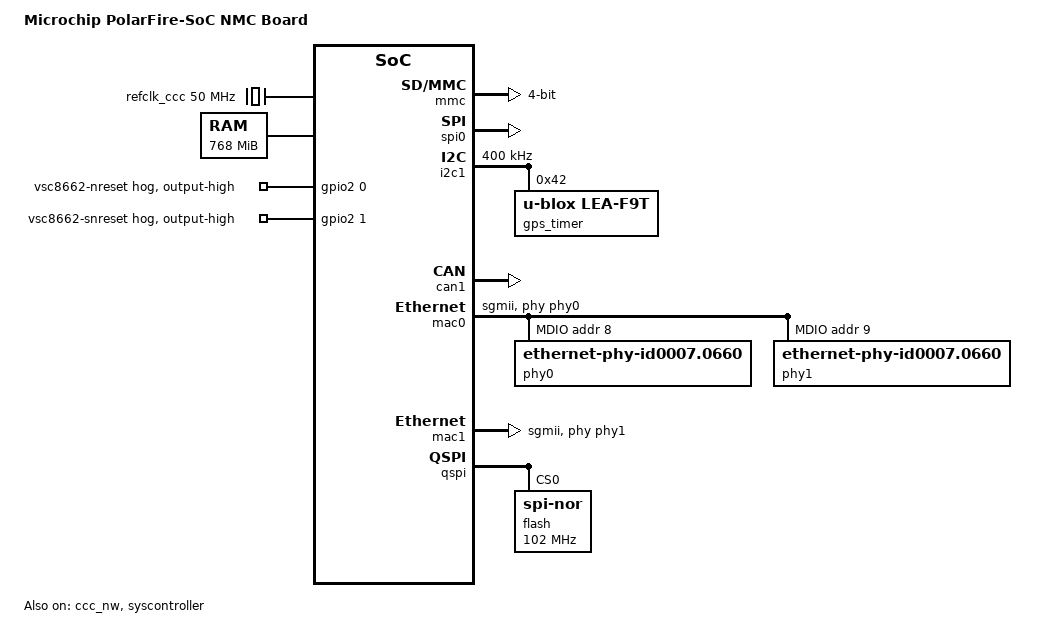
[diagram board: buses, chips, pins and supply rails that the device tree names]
// SPDX-License-Identifier: (GPL-2.0 OR MIT)
/* Written by Ryan Nguyen / Andrew Carton 2026 */

/dts-v1/;

#include "mpfs.dtsi"
#include <dt-bindings/gpio/gpio.h>

/ {
	model = "Microchip PolarFire-SoC NMC Board";
	compatible = "microchip,mpfs-custom-mss", "microchip,mpfs";

	aliases {
		ethernet0 = &mac0;
		ethernet1 = &mac1;
		serial0 = &mmuart0;
		serial1 = &mmuart1;
		i2c1 = &i2c1;
		can0 = &can1;
		mmc0 = &mmc;
		spi0 = &spi0;
	};

	chosen {
		bootph-pre-ram;
		stdout-path = "serial1:115200n8";
		/* Automatically load the ITB image to 0x84000000 and boot */
		u-boot,bootcmd = "fatload mmc 0:2 0x84000000 mpfs_icicle.itb; bootm 0x84000000";
	};

	/* Fixed Reference Clock for CCC */
	refclk_ccc: cccrefclk {
		compatible = "fixed-clock";
		#clock-cells = <0>;
		clock-frequency = <50000000>;
	};

	/* Match the 768 MB range configured in Libero */
	ddrc_cache_lo: memory@80000000 {
		device_type = "memory";
		reg = <0x0 0x80000000 0x0 0x30000000>;
		status = "okay";
	};

	/* Disable 16GB High Cached region */
	ddrc_cache_hi: memory@1000000000 {
		status = "disabled";
	};

	reserved-memory {
		#address-cells = <2>;
		#size-cells = <2>;
		ranges;

		/* Put HSS payload near the top of the 768MB region (0xAF800000) */
		hss_payload: region@af800000 {
			reg = <0x0 0xaf800000 0x0 0x800000>;
			no-map;
		};
	};
};

/* Explicit Reference Clocks */
&refclk {
	clock-frequency = <125000000>;
};

&ccc_nw {
	clocks = <&refclk_ccc>, <&refclk_ccc>, <&refclk_ccc>, <&refclk_ccc>,
		 <&refclk_ccc>, <&refclk_ccc>;
	clock-names = "pll0_ref0", "pll0_ref1", "pll1_ref0", "pll1_ref1",
		      "dll0_ref", "dll1_ref";
	status = "okay";
};

/* System Controller & Mailbox Hardware Interface */
&mbox {
	status = "okay";
};

&syscontroller {
	status = "okay";
};

/* Serial Controllers */
&mmuart0 { 
	status = "disabled"; 
};

&mmuart1 {
	bootph-pre-ram;
	u-boot,dm-pre-reloc;
	status = "okay";
};

&mmuart2 { status = "okay"; };
&mmuart4 { status = "okay"; };

/* eMMC Storage */
&mmc {
	bus-width = <4>;
	disable-wp;
	cap-sd-highspeed;
	cap-mmc-highspeed;
	mmc-ddr-1_8v;
	mmc-hs200-1_8v;
	sd-uhs-sdr12;
	sd-uhs-sdr25;
	sd-uhs-sdr50;
	sd-uhs-sdr104;
	status = "okay";
};

/* GPIO Controllers */
&gpio0 { status = "okay"; };
&gpio1 { status = "okay"; };

/* GPIO2 - Drive both PHY Reset lines HIGH */
&gpio2 {
	status = "okay";
	u-boot,dm-pre-reloc;

	vsc8662_nreset {
		u-boot,dm-pre-reloc;
		gpio-hog;
		gpios = <0 GPIO_ACTIVE_HIGH>;
		output-high;
		line-name = "vsc8662-nreset";
	};

	vsc8662_snreset {
		u-boot,dm-pre-reloc;
		gpio-hog;
		gpios = <1 GPIO_ACTIVE_HIGH>;
		output-high;
		line-name = "vsc8662-snreset";
	};
};

/* Active SPI 0 Interface */
&spi0 {
	status = "okay";
};

/* Disable Peripherals Not Present on Board */
&i2c0 { status = "disabled"; };
&can0 { status = "disabled"; };
&spi1 { status = "disabled"; };
&mmuart3 { status = "disabled"; };
&usb { status = "disabled"; };

/* I2C1 with u-blox GPS mapping */
&i2c1 {
	status = "okay";
	clock-frequency = <400000>;

	gps_timer@42 {
		compatible = "u-blox,lea-f9t", "generic-i2c-device";
		reg = <0x42>;
	};
};

/* CAN1 Active */
&can1 {
	status = "okay";
};

/* MAC 0 (eth0) - Shared MDIO Bus Master */
&mac0 {
    status = "okay";
    phy-mode = "sgmii";
    phy-handle = <&phy0>;

    mdio {
        #address-cells = <1>;
        #size-cells = <0>;

        phy0: ethernet-phy@8 {
            reg = <8>;
            compatible = "ethernet-phy-id0007.0660", "ethernet-phy-ieee802.3-c22";
        };

        phy1: ethernet-phy@9 {
            reg = <9>;
            compatible = "ethernet-phy-id0007.0660", "ethernet-phy-ieee802.3-c22";
        };
    };
};

/* MAC 1 (eth1) - References phy1 on mac0's MDIO bus */
&mac1 {
    status = "okay";
    phy-mode = "sgmii"; /* Ensure mode matches mac0 / schematic */
    phy-handle = <&phy1>;
};

/* Active QSPI Flash */
&qspi {
	status = "okay";
	flash@0 {
		compatible = "jedec,spi-nor";
		reg = <0>;
		spi-max-frequency = <102000000>;
		spi-tx-bus-width = <4>;
		spi-rx-bus-width = <4>;
		status = "okay";
	};
};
